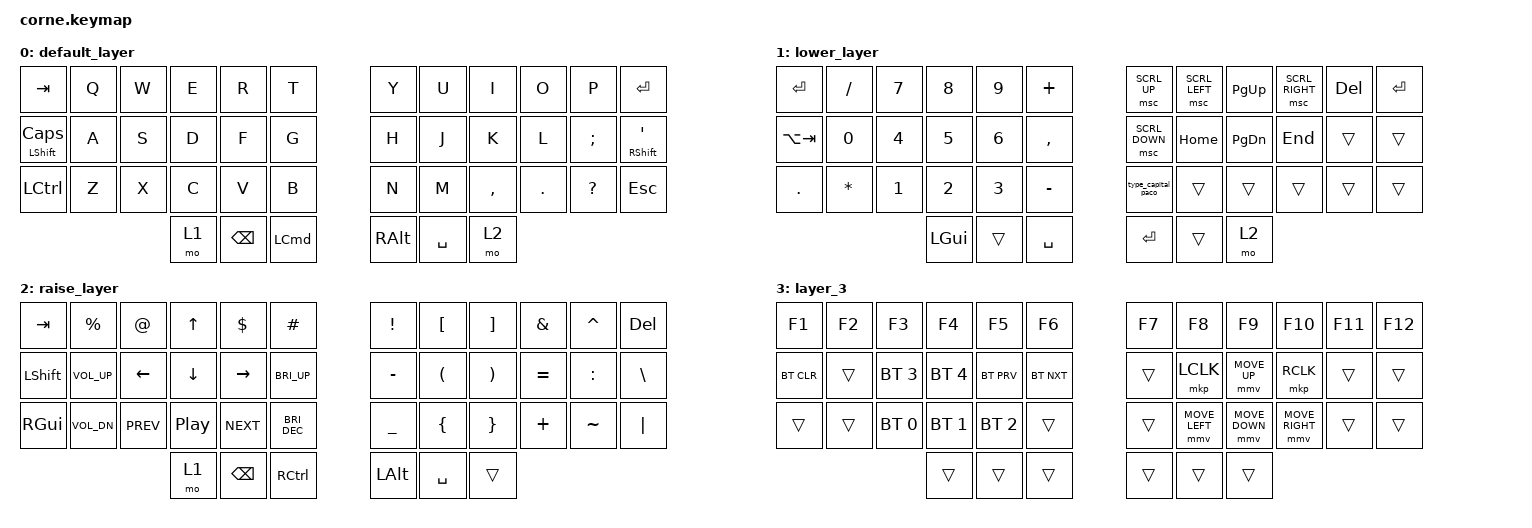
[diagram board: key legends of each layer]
/*
 * Copyright (c) 2020 The ZMK Contributors
 *
 * SPDX-License-Identifier: MIT
 */

#define ZMK_POINTING_DEFAULT_MOVE_VAL 1500  // default: 600
#define ZMK_POINTING_DEFAULT_SCRL_VAL 20    // default: 10

#include <behaviors.dtsi>
#include <dt-bindings/zmk/bt.h>
#include <dt-bindings/zmk/keys.h>
#include <dt-bindings/zmk/pointing.h>

/ {
    macros {
        mouse_click: mouse_click {
            compatible = "zmk,behavior-macro";
            #binding-cells = <0>;
            bindings = <&none>;
            label = "MOUSE_CLICK";
        };

        type_capital_paco: type_capital_paco {
            compatible = "zmk,behavior-macro";
            #binding-cells = <0>;

            /* Valores seguros para BLE */

            wait-ms = <30>;
            tap-ms = <30>;
            bindings = <&kp C &kp A &kp P &kp I &kp T &kp A &kp L &kp N1 &kp LS(P) &kp AT &kp C &kp O &kp N0 &kp N8 &kp N2 &kp N4 &kp N0 &kp N6 &kp N2 &kp N4 &kp ENTER>;
            label = "pass";
        };
    };

    keymap {
        compatible = "zmk,keymap";

        default_layer {
            // -----------------------------------------------------------------------------------------
            // |  TAB |  Q  |  W  |  E  |  R  |  T  |   |  Y  |  U   |  I  |  O  |  P  | BSPC |
            // | CTRL |  A  |  S  |  D  |  F  |  G  |   |  H  |  J   |  K  |  L  |  ;  |  '   |
            // | SHFT |  Z  |  X  |  C  |  V  |  B  |   |  N  |  M   |  ,  |  .  |  /  | ESC  |
            //                    | GUI | LWR | SPC |   | ENT | RSE  | ALT |

            bindings = <
&kp TAB                  &kp Q  &kp W  &kp E  &kp R          &kp T               &kp Y          &kp U      &kp I      &kp O    &kp P         &kp ENTER
&mt LEFT_SHIFT CAPSLOCK  &kp A  &kp S  &kp D  &kp F          &kp G               &kp H          &kp J      &kp K      &kp L    &kp SEMI      &mt RIGHT_SHIFT APOS
&kp LEFT_CONTROL         &kp Z  &kp X  &kp C  &kp V          &kp B               &kp N          &kp M      &kp COMMA  &kp DOT  &kp QUESTION  &kp ESC
                                       &mo 1  &kp BACKSPACE  &kp LEFT_COMMAND    &kp RIGHT_ALT  &kp SPACE  &mo 2
            >;
        };

        lower_layer {
            // -----------------------------------------------------------------------------------------
            // |  TAB |  1  |  2  |  3  |  4  |  5  |   |  6  |  7  |  8  |  9  |  0  | BSPC |
            // | BTCLR| BT1 | BT2 | BT3 | BT4 | BT5 |   | LFT | DWN |  UP | RGT |     |      |
            // | SHFT |     |     |     |     |     |   |     |     |     |     |     |      |
            //                    | GUI |     | SPC |   | ENT |     | ALT |

            bindings = <
&kp ENTER    &kp SLASH     &kp N7        &kp N8        &kp N9        &kp PLUS     &msc SCRL_UP        &msc SCRL_LEFT  &kp PAGE_UP    &msc SCRL_RIGHT  &kp DEL  &kp ENTER
&kp LA(TAB)  &kp N0        &kp NUMBER_4  &kp N5        &kp NUMBER_6  &kp COMMA    &msc SCRL_DOWN      &kp HOME        &kp PAGE_DOWN  &kp END          &trans   &trans
&kp DOT      &kp ASTERISK  &kp NUMBER_1  &kp NUMBER_2  &kp NUMBER_3  &kp MINUS    &type_capital_paco  &trans          &trans         &trans           &trans   &trans
                                         &kp LGUI      &trans        &kp SPACE    &kp RET             &trans          &mo 2
            >;
        };

        raise_layer {
            // -----------------------------------------------------------------------------------------
            // |  TAB |  !  |  @  |  #  |  $  |  %  |   |  ^  |  &  |  *  |  (  |  )  | BSPC |
            // | CTRL |     |     |     |     |     |   |  -  |  =  |  [  |  ]  |  \  |  `   |
            // | SHFT |     |     |     |     |     |   |  _  |  +  |  {  |  }  | "|" |  ~   |
            //                    | GUI |     | SPC |   | ENT |     | ALT |

            bindings = <
&kp TAB         &kp PERCENT   &kp AT          &kp UP_ARROW      &kp DLLR       &kp HASH             &kp EXCLAMATION  &kp LEFT_BRACKET      &kp RIGHT_BRACKET      &kp AMPERSAND  &kp CARET  &kp DEL
&kp LEFT_SHIFT  &kp C_VOL_UP  &kp LEFT_ARROW  &kp DOWN_ARROW    &kp RIGHT      &kp C_BRI_UP         &kp MINUS        &kp LEFT_PARENTHESIS  &kp RIGHT_PARENTHESIS  &kp EQUAL      &kp COLON  &kp BACKSLASH
&kp RIGHT_GUI   &kp C_VOL_DN  &kp C_PREV      &kp C_PLAY_PAUSE  &kp C_NEXT     &kp C_BRI_DEC        &kp UNDER        &kp LEFT_BRACE        &kp RIGHT_BRACE        &kp PLUS       &kp TILDE  &kp PIPE
                                              &mo 1             &kp BACKSPACE  &kp RIGHT_CONTROL    &kp LEFT_ALT     &kp SPACE             &trans
            >;
        };

        layer_3 {
            bindings = <
&kp F1      &kp F2  &kp F3        &kp F4        &kp F5        &kp F6        &kp F7  &kp F8          &kp F9          &kp F10          &kp F11  &kp F12
&bt BT_CLR  &trans  &bt BT_SEL 3  &bt BT_SEL 4  &bt BT_PRV    &bt BT_NXT    &trans  &mkp LCLK       &mmv MOVE_UP    &mkp RCLK        &trans   &trans
&trans      &trans  &bt BT_SEL 0  &bt BT_SEL 1  &bt BT_SEL 2  &trans        &trans  &mmv MOVE_LEFT  &mmv MOVE_DOWN  &mmv MOVE_RIGHT  &trans   &trans
                                  &trans        &trans        &trans        &trans  &trans          &trans
            >;
        };
    };

    conditional_layers {
        compatible = "zmk,conditional-layers";

        layer_3 {
            if-layers = <1 2>;
            then-layer = <3>;
        };
    };
};
